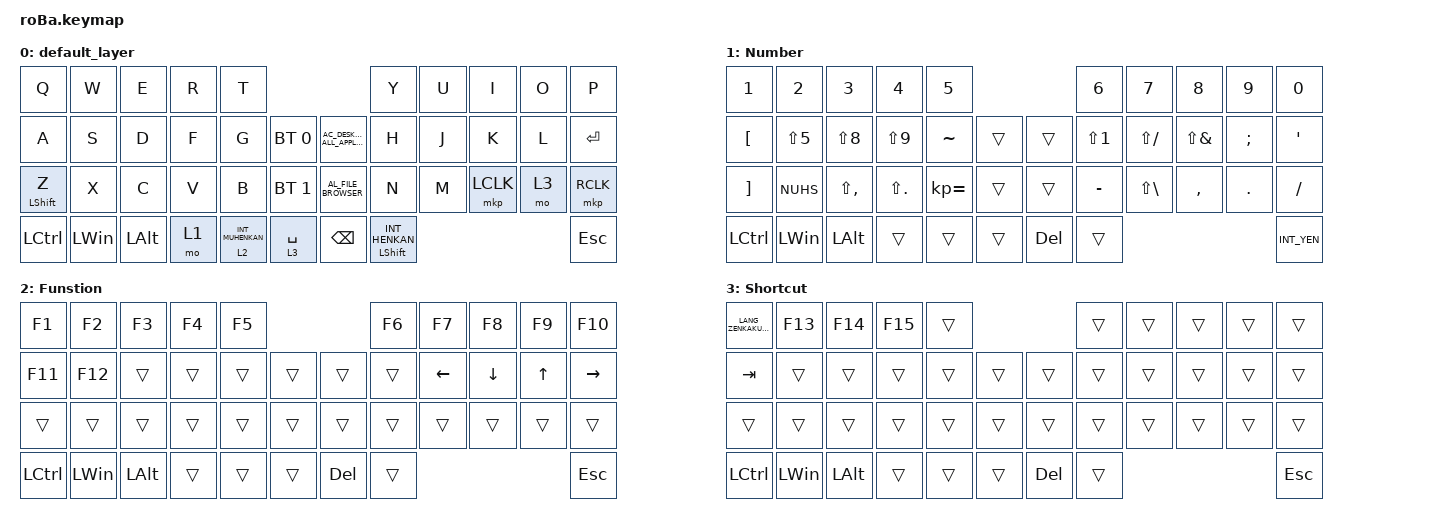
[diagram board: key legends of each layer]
#include <behaviors.dtsi>
#include <dt-bindings/zmk/bt.h>
#include <dt-bindings/zmk/keys.h>
#include <dt-bindings/zmk/pointing.h>

#define MOUSE 4
#define SCROLL 2
#define NUM 6

/ {
    combos { compatible = "zmk,combos"; };

    keymap {
        compatible = "zmk,keymap";

        default_layer {
            bindings = <
&kp Q             &kp W         &kp E         &kp R  &kp T                                                                         &kp Y                      &kp U  &kp I      &kp O  &kp P
&kp A             &kp S         &kp D         &kp F  &kp G               &bt BT_SEL 0      &kp C_AC_DESKTOP_SHOW_ALL_APPLICATIONS  &kp H                      &kp J  &kp K      &kp L  &kp ENTER
&mt LEFT_SHIFT Z  &kp X         &kp C         &kp V  &kp B               &bt BT_SEL 1      &kp C_AL_FILE_BROWSER                   &kp N                      &kp M  &mkp LCLK  &mo 3  &mkp RCLK
&kp LCTRL         &kp LEFT_WIN  &kp LEFT_ALT  &mo 1  &lt 2 INT_MUHENKAN  &lt 3 SPACE       &kp BACKSPACE                           &mt LEFT_SHIFT INT_HENKAN                           &kp ESCAPE
            >;
        };

        Number {
            bindings = <
&kp NUMBER_1  &kp NUMBER_2  &kp NUMBER_3   &kp NUMBER_4  &kp N5                                &kp NUMBER_6      &kp NUMBER_7   &kp NUMBER_8       &kp NUMBER_9  &kp NUMBER_0
&kp LBKT      &kp LS(N5)    &kp LS(N8)     &kp LS(N9)    &kp TILDE     &trans      &trans      &kp LS(NUMBER_1)  &kp LS(SLASH)  &kp LS(AMPERSAND)  &kp SEMI      &kp SQT
&kp RBKT      &kp NUHS      &kp LS(COMMA)  &kp LS(DOT)   &kp KP_EQUAL  &trans      &trans      &kp MINUS         &kp LS(BSLH)   &kp COMMA          &kp PERIOD    &kp SLASH
&kp LCTRL     &kp LEFT_WIN  &kp LEFT_ALT   &trans        &trans        &trans      &kp DELETE  &trans                                                            &kp INT_YEN
            >;
        };

        Funstion {
            bindings = <
&kp F1     &kp F2        &kp F3        &kp F4  &kp F5                          &kp F6  &kp F7          &kp F8          &kp F9        &kp F10
&kp F11    &kp F12       &trans        &trans  &trans  &trans      &trans      &trans  &kp LEFT_ARROW  &kp DOWN_ARROW  &kp UP_ARROW  &kp RIGHT_ARROW
&trans     &trans        &trans        &trans  &trans  &trans      &trans      &trans  &trans          &trans          &trans        &trans
&kp LCTRL  &kp LEFT_WIN  &kp LEFT_ALT  &trans  &trans  &trans      &kp DELETE  &trans                                                &kp ESCAPE
            >;
        };

        Shortcut {
            bindings = <
&kp LANG_ZENKAKUHANKAKU  &kp F13       &kp F14       &kp F15  &trans                          &trans  &trans  &trans  &trans  &trans
&kp TAB                  &trans        &trans        &trans   &trans  &trans      &trans      &trans  &trans  &trans  &trans  &trans
&trans                   &trans        &trans        &trans   &trans  &trans      &trans      &trans  &trans  &trans  &trans  &trans
&kp LCTRL                &kp LEFT_WIN  &kp LEFT_ALT  &trans   &trans  &trans      &kp DELETE  &trans                          &kp ESCAPE
            >;
        };
    };
};
